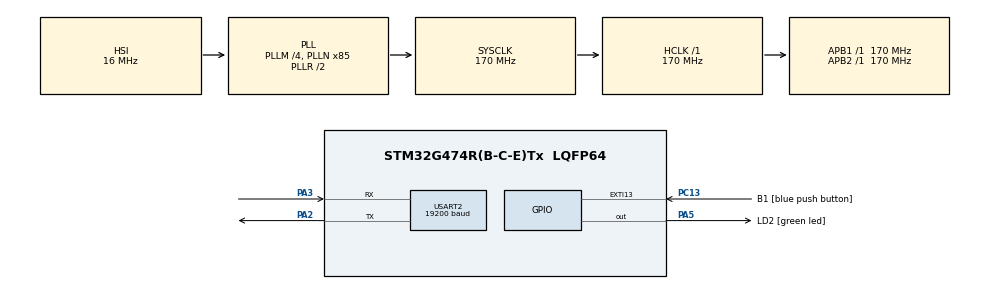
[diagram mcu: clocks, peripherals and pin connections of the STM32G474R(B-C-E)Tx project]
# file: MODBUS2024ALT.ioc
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Dma.Request0=USART2_TX
Dma.Request1=USART2_RX
Dma.USART2_RX.1.Direction=DMA_PERIPH_TO_MEMORY
Dma.USART2_RX.1.EventEnable=DISABLE
Dma.USART2_RX.1.Instance=DMA1_Channel2
Dma.USART2_RX.1.MemDataAlignment=DMA_MDATAALIGN_BYTE
Dma.USART2_RX.1.MemInc=DMA_MINC_ENABLE
Dma.USART2_RX.1.Mode=DMA_NORMAL
Dma.USART2_RX.1.PeriphDataAlignment=DMA_PDATAALIGN_BYTE
Dma.USART2_RX.1.PeriphInc=DMA_PINC_DISABLE
Dma.USART2_RX.1.Polarity=HAL_DMAMUX_REQ_GEN_RISING
Dma.USART2_RX.1.Priority=DMA_PRIORITY_LOW
Dma.USART2_RX.1.RequestNumber=1
Dma.USART2_RX.1.SignalID=NONE
Dma.USART2_RX.1.SyncEnable=DISABLE
Dma.USART2_RX.1.SyncPolarity=HAL_DMAMUX_SYNC_NO_EVENT
Dma.USART2_RX.1.SyncRequestNumber=1
Dma.USART2_RX.1.SyncSignalID=NONE
Dma.USART2_TX.0.Direction=DMA_MEMORY_TO_PERIPH
Dma.USART2_TX.0.EventEnable=DISABLE
Dma.USART2_TX.0.Instance=DMA1_Channel1
Dma.USART2_TX.0.MemDataAlignment=DMA_MDATAALIGN_BYTE
Dma.USART2_TX.0.MemInc=DMA_MINC_ENABLE
Dma.USART2_TX.0.Mode=DMA_NORMAL
Dma.USART2_TX.0.PeriphDataAlignment=DMA_PDATAALIGN_BYTE
Dma.USART2_TX.0.PeriphInc=DMA_PINC_DISABLE
Dma.USART2_TX.0.Polarity=HAL_DMAMUX_REQ_GEN_RISING
Dma.USART2_TX.0.Priority=DMA_PRIORITY_LOW
Dma.USART2_TX.0.RequestNumber=1
Dma.USART2_TX.0.SignalID=NONE
Dma.USART2_TX.0.SyncEnable=DISABLE
Dma.USART2_TX.0.SyncPolarity=HAL_DMAMUX_SYNC_NO_EVENT
Dma.USART2_TX.0.SyncRequestNumber=1
Dma.USART2_TX.0.SyncSignalID=NONE
Mcu.Family=STM32G4
Mcu.Name=STM32G474R(B-C-E)Tx
Mcu.Package=LQFP64
NVIC.DMA1_Channel1_IRQn=true\:0\:0\:false\:false\:true\:false\:true\:true
NVIC.DMA1_Channel2_IRQn=true\:0\:0\:false\:false\:true\:false\:true\:true
NVIC.EXTI15_10_IRQn=true\:0\:0\:false\:false\:true\:true\:true\:true
NVIC.PriorityGroup=NVIC_PRIORITYGROUP_4
NVIC.TIM1_UP_TIM16_IRQn=true\:0\:0\:false\:false\:true\:true\:true\:true
NVIC.TIM6_DAC_IRQn=true\:0\:0\:false\:false\:true\:true\:true\:true
NVIC.USART2_IRQn=true\:0\:0\:false\:false\:true\:true\:true\:true
PA13.GPIO_Label=T_SWDIO
PA13.Mode=Serial_Wire
PA13.Signal=SYS_JTMS-SWDIO
PA14.GPIO_Label=T_SWCLK
PA14.Mode=Serial_Wire
PA14.Signal=SYS_JTCK-SWCLK
PA2.Mode=Asynchronous
PA2.Signal=USART2_TX
PA3.Mode=Asynchronous
PA3.Signal=USART2_RX
PA5.GPIO_Label=LD2 [green led]
PA5.Signal=GPIO_Output
PB3.GPIO_Label=T_SWO
PB3.Signal=SYS_JTDO-SWO
PC13.GPIO_Label=B1 [blue push button]
PC13.Signal=GPXTI13
PC14-OSC32_IN.Mode=LSE-External-Oscillator
PC14-OSC32_IN.Signal=RCC_OSC32_IN
PC15-OSC32_OUT.Mode=LSE-External-Oscillator
PC15-OSC32_OUT.Signal=RCC_OSC32_OUT
PF0-OSC_IN.Mode=HSE-External-Oscillator
PF0-OSC_IN.Signal=RCC_OSC_IN
PF1-OSC_OUT.Mode=HSE-External-Oscillator
PF1-OSC_OUT.Signal=RCC_OSC_OUT
ProjectManager.HeapSize=0x200
ProjectManager.StackSize=0x400
ProjectManager.TargetToolchain=STM32CubeIDE
RCC.ADC12Freq_Value=170000000
RCC.ADC345Freq_Value=170000000
RCC.AHBFreq_Value=170000000
RCC.APB1Freq_Value=170000000
RCC.APB1TimFreq_Value=170000000
RCC.APB2Freq_Value=170000000
RCC.APB2TimFreq_Value=170000000
RCC.CortexFreq_Value=170000000
RCC.EXTERNAL_CLOCK_VALUE=12288000
RCC.HCLKFreq_Value=170000000
RCC.HSE_VALUE=24000000
RCC.HSI48_VALUE=48000000
RCC.HSI_VALUE=16000000
RCC.PLLM=RCC_PLLM_DIV4
RCC.PLLN=85
RCC.RTCClockSelection=RCC_RTCCLKSOURCE_LSE
RCC.SYSCLKFreq_VALUE=170000000
RCC.SYSCLKSource=RCC_SYSCLKSOURCE_PLLCLK
RCC.USBFreq_Value=170000000
RCC.VCOOutputFreq_Value=340000000
TIM6.AutoReloadPreload=TIM_AUTORELOAD_PRELOAD_DISABLE
TIM6.Dithering=Disable
TIM6.PeriodNoDither=20000
TIM6.Prescaler=1699
TIM6.TIM_MasterOutputTrigger=TIM_TRGO_RESET
USART2.BaudRate=19200
USART2.OneBitSampling=UART_ONE_BIT_SAMPLE_DISABLE
USART2.Parity=PARITY_EVEN
USART2.VirtualMode-Asynchronous=VM_ASYNC
USART2.WordLength=WORDLENGTH_9B
VP_SYS_VS_DBSignals.Mode=DisableDeadBatterySignals
VP_TIM16_VS_ClockSourceINT.Mode=Enable_Timer
VP_TIM16_VS_OPM.Mode=OPM_bit
VP_TIM17_VS_ClockSourceINT.Mode=Enable_Timer
VP_TIM6_VS_ClockSourceINT.Mode=Enable_Timer
board=NUCLEO-G474RE

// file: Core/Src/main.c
/* USER CODE BEGIN Header */
/**
  ******************************************************************************
  * @file           : main.c
  * @brief          : Main program body
  ******************************************************************************
  * @attention
  *
  * Copyright (c) 2024 STMicroelectronics.
  * All rights reserved.
  *
  * This software is licensed under terms that can be found in the LICENSE file
  * in the root directory of this software component.
  * If no LICENSE file comes with this software, it is provided AS-IS.
  *
  ******************************************************************************
  */
/* USER CODE END Header */
#include "main.h"

/* USER CODE BEGIN Includes */
#include "ModBusRTU.h"
/* USER CODE END Includes */

TIM_HandleTypeDef htim6;
TIM_HandleTypeDef htim16;
TIM_HandleTypeDef htim17;

UART_HandleTypeDef huart2;
DMA_HandleTypeDef hdma_usart2_tx;
DMA_HandleTypeDef hdma_usart2_rx;

/* USER CODE BEGIN PV */
ModbusHandleTypedef hmodbus;
u16u8_t registerFrame[200];

//maunualadd
int check  = 0;
int check2  = 0;
int vaccum_status = 0;
int gripper_status = 0;
int check_state  = 0;

// set shelf
int Enter_click = 0;
int set_shelf_state = 0;
//set point
int set_point_modbus = 0;
int point_state_triger = 0;
int set_point_state = 0;
// set home
int set_Home_state = 0;
int Home_state_triger = 0;
//run jog
int PickOrder = 0;
int PlasceOrder = 0;
int set_jog_state = 0;
/* USER CODE END PV */

void SystemClock_Config(void);
static void MX_GPIO_Init(void);
static void MX_DMA_Init(void);
static void MX_USART2_UART_Init(void);
static void MX_TIM16_Init(void);
static void MX_TIM6_Init(void);
static void MX_TIM17_Init(void);

int main(void)
{

  /* MCU Configuration--------------------------------------------------------*/

  /* Reset of all peripherals, Initializes the Flash interface and the Systick. */
  HAL_Init();

  /* Configure the system clock */
  SystemClock_Config();

  /* Initialize all configured peripherals */
  MX_GPIO_Init();
  MX_DMA_Init();
  MX_USART2_UART_Init();
  MX_TIM16_Init();
  MX_TIM6_Init();
  MX_TIM17_Init();
  /* USER CODE BEGIN 2 */

  // manaul add
  HAL_TIM_Base_Start_IT(&htim6);

  //  modbus
  hmodbus.huart = &huart2;
  hmodbus.htim = &htim16;
  hmodbus.slaveAddress = 0x15;
  hmodbus.RegisterSize =200;
  Modbus_init(&hmodbus, registerFrame);
  /* USER CODE END 2 */

  /* Infinite loop */
  while (1)
  {

    /* USER CODE BEGIN 3 */
	  Modbus_Protocal_Worker();
	  check_vaccum_status();
	  check_gripper_status();
	  set_shelf();
	  Pointmode();
	  Home();
	  Run_jog();
//

  }
  /* USER CODE END 3 */
}

void SystemClock_Config(void)
{
  RCC_OscInitTypeDef RCC_OscInitStruct = {0};
  RCC_ClkInitTypeDef RCC_ClkInitStruct = {0};

  /** Configure the main internal regulator output voltage
  */
  HAL_PWREx_ControlVoltageScaling(PWR_REGULATOR_VOLTAGE_SCALE1_BOOST);

  /** Initializes the RCC Oscillators according to the specified parameters
  * in the RCC_OscInitTypeDef structure.
  */
  RCC_OscInitStruct.OscillatorType = RCC_OSCILLATORTYPE_HSI;
  RCC_OscInitStruct.HSIState = RCC_HSI_ON;
  RCC_OscInitStruct.HSICalibrationValue = RCC_HSICALIBRATION_DEFAULT;
  RCC_OscInitStruct.PLL.PLLState = RCC_PLL_ON;
  RCC_OscInitStruct.PLL.PLLSource = RCC_PLLSOURCE_HSI;
  RCC_OscInitStruct.PLL.PLLM = RCC_PLLM_DIV4;
  RCC_OscInitStruct.PLL.PLLN = 85;
  RCC_OscInitStruct.PLL.PLLP = RCC_PLLP_DIV2;
  RCC_OscInitStruct.PLL.PLLQ = RCC_PLLQ_DIV2;
  RCC_OscInitStruct.PLL.PLLR = RCC_PLLR_DIV2;
  if (HAL_RCC_OscConfig(&RCC_OscInitStruct) != HAL_OK)
  {
    Error_Handler();
  }

  /** Initializes the CPU, AHB and APB buses clocks
  */
  RCC_ClkInitStruct.ClockType = RCC_CLOCKTYPE_HCLK|RCC_CLOCKTYPE_SYSCLK
                              |RCC_CLOCKTYPE_PCLK1|RCC_CLOCKTYPE_PCLK2;
  RCC_ClkInitStruct.SYSCLKSource = RCC_SYSCLKSOURCE_PLLCLK;
  RCC_ClkInitStruct.AHBCLKDivider = RCC_SYSCLK_DIV1;
  RCC_ClkInitStruct.APB1CLKDivider = RCC_HCLK_DIV1;
  RCC_ClkInitStruct.APB2CLKDivider = RCC_HCLK_DIV1;

  if (HAL_RCC_ClockConfig(&RCC_ClkInitStruct, FLASH_LATENCY_4) != HAL_OK)
  {
    Error_Handler();
  }
}

static void MX_TIM6_Init(void)
{

  TIM_MasterConfigTypeDef sMasterConfig = {0};

  htim6.Instance = TIM6;
  htim6.Init.Prescaler = 1699;
  htim6.Init.CounterMode = TIM_COUNTERMODE_UP;
  htim6.Init.Period = 20000;
  htim6.Init.AutoReloadPreload = TIM_AUTORELOAD_PRELOAD_DISABLE;
  if (HAL_TIM_Base_Init(&htim6) != HAL_OK)
  {
    Error_Handler();
  }
  sMasterConfig.MasterOutputTrigger = TIM_TRGO_RESET;
  sMasterConfig.MasterSlaveMode = TIM_MASTERSLAVEMODE_DISABLE;
  if (HAL_TIMEx_MasterConfigSynchronization(&htim6, &sMasterConfig) != HAL_OK)
  {
    Error_Handler();
  }

}

static void MX_TIM16_Init(void)
{

  htim16.Instance = TIM16;
  htim16.Init.Prescaler = 0;
  htim16.Init.CounterMode = TIM_COUNTERMODE_UP;
  htim16.Init.Period = 65535;
  htim16.Init.ClockDivision = TIM_CLOCKDIVISION_DIV1;
  htim16.Init.RepetitionCounter = 0;
  htim16.Init.AutoReloadPreload = TIM_AUTORELOAD_PRELOAD_DISABLE;
  if (HAL_TIM_Base_Init(&htim16) != HAL_OK)
  {
    Error_Handler();
  }
  if (HAL_TIM_OnePulse_Init(&htim16, TIM_OPMODE_SINGLE) != HAL_OK)
  {
    Error_Handler();
  }

}

static void MX_TIM17_Init(void)
{

  htim17.Instance = TIM17;
  htim17.Init.Prescaler = 0;
  htim17.Init.CounterMode = TIM_COUNTERMODE_UP;
  htim17.Init.Period = 65535;
  htim17.Init.ClockDivision = TIM_CLOCKDIVISION_DIV1;
  htim17.Init.RepetitionCounter = 0;
  htim17.Init.AutoReloadPreload = TIM_AUTORELOAD_PRELOAD_DISABLE;
  if (HAL_TIM_Base_Init(&htim17) != HAL_OK)
  {
    Error_Handler();
  }

}

static void MX_USART2_UART_Init(void)
{

  huart2.Instance = USART2;
  huart2.Init.BaudRate = 19200;
  huart2.Init.WordLength = UART_WORDLENGTH_9B;
  huart2.Init.StopBits = UART_STOPBITS_1;
  huart2.Init.Parity = UART_PARITY_EVEN;
  huart2.Init.Mode = UART_MODE_TX_RX;
  huart2.Init.HwFlowCtl = UART_HWCONTROL_NONE;
  huart2.Init.OverSampling = UART_OVERSAMPLING_16;
  huart2.Init.OneBitSampling = UART_ONE_BIT_SAMPLE_DISABLE;
  huart2.Init.ClockPrescaler = UART_PRESCALER_DIV1;
  huart2.AdvancedInit.AdvFeatureInit = UART_ADVFEATURE_NO_INIT;
  if (HAL_UART_Init(&huart2) != HAL_OK)
  {
    Error_Handler();
  }
  if (HAL_UARTEx_SetTxFifoThreshold(&huart2, UART_TXFIFO_THRESHOLD_1_8) != HAL_OK)
  {
    Error_Handler();
  }
  if (HAL_UARTEx_SetRxFifoThreshold(&huart2, UART_RXFIFO_THRESHOLD_1_8) != HAL_OK)
  {
    Error_Handler();
  }
  if (HAL_UARTEx_DisableFifoMode(&huart2) != HAL_OK)
  {
    Error_Handler();
  }

}

static void MX_DMA_Init(void)
{

  /* DMA controller clock enable */
  __HAL_RCC_DMAMUX1_CLK_ENABLE();
  __HAL_RCC_DMA1_CLK_ENABLE();

  /* DMA interrupt init */
  /* DMA1_Channel1_IRQn interrupt configuration */
  HAL_NVIC_SetPriority(DMA1_Channel1_IRQn, 0, 0);
  HAL_NVIC_EnableIRQ(DMA1_Channel1_IRQn);
  /* DMA1_Channel2_IRQn interrupt configuration */
  HAL_NVIC_SetPriority(DMA1_Channel2_IRQn, 0, 0);
  HAL_NVIC_EnableIRQ(DMA1_Channel2_IRQn);

}

static void MX_GPIO_Init(void)
{
  GPIO_InitTypeDef GPIO_InitStruct = {0};

  /* GPIO Ports Clock Enable */
  __HAL_RCC_GPIOC_CLK_ENABLE();
  __HAL_RCC_GPIOF_CLK_ENABLE();
  __HAL_RCC_GPIOA_CLK_ENABLE();
  __HAL_RCC_GPIOB_CLK_ENABLE();

  /*Configure GPIO pin Output Level */
  HAL_GPIO_WritePin(LD2_GPIO_Port, LD2_Pin, GPIO_PIN_RESET);

  /*Configure GPIO pin : B1_Pin */
  GPIO_InitStruct.Pin = B1_Pin;
  GPIO_InitStruct.Mode = GPIO_MODE_IT_RISING;
  GPIO_InitStruct.Pull = GPIO_NOPULL;
  HAL_GPIO_Init(B1_GPIO_Port, &GPIO_InitStruct);

  /*Configure GPIO pin : LD2_Pin */
  GPIO_InitStruct.Pin = LD2_Pin;
  GPIO_InitStruct.Mode = GPIO_MODE_OUTPUT_PP;
  GPIO_InitStruct.Pull = GPIO_NOPULL;
  GPIO_InitStruct.Speed = GPIO_SPEED_FREQ_LOW;
  HAL_GPIO_Init(LD2_GPIO_Port, &GPIO_InitStruct);

  /* EXTI interrupt init*/
  HAL_NVIC_SetPriority(EXTI15_10_IRQn, 0, 0);
  HAL_NVIC_EnableIRQ(EXTI15_10_IRQn);

}

/* USER CODE BEGIN 4 */
void HAL_TIM_PeriodElapsedCallback(TIM_HandleTypeDef *htim)
{
  // Check which version of the timer triggered this callback and toggle LED
  if (htim == &htim6)
  {
    check2 +=1;
	Heartbeat();
	Routine();
  }
}
void Heartbeat(){
	registerFrame[0x00].U16 = 22881;
	if (registerFrame[0x00].U16 == 18537)
	{
		registerFrame[0x00].U16 = 22881;
	}
}
void Routine(){
		if (gripper_status == 0 ) // not suck  in
		{
			registerFrame[0x04].U16 = 0b0000;
			registerFrame[0x04].U16 = 0b0001;
		}
		else if (gripper_status == 1) // suck in
		{
			registerFrame[0x04].U16 = 0b0000;
			registerFrame[0x04].U16 = 0b0010;
		}
		registerFrame[0x10].U16 = 0;
		registerFrame[0x11].U16 = 10;
		registerFrame[0x12].U16 = 100;
		registerFrame[0x13].U16 = 10;
		registerFrame[0x40].U16 = 10;
//		}
}

void check_vaccum_status()
{
	check_state = 1;
	if(registerFrame[0x02].U16 == 0b0000){ // not suck  in
		vaccum_status = 0;
//		registerFrame[0x04].U16 = 0b0000;
//		registerFrame[0x04].U16 = 0b0001;
	}
	if(registerFrame[0x02].U16 == 0b0001){ //suck  in
		vaccum_status = 1;
//		registerFrame[0x04].U16 = 0b0000;
//		registerFrame[0x04].U16 = 0b0010;
	}
}

void check_gripper_status()
{
	check_state = 2;
	if(registerFrame[0x03].U16 == 0b0000) //back ,not on
	{
		gripper_status = 0;

	}
	if(registerFrame[0x03].U16 == 0b0001) //back ,not on
	{
		gripper_status = 1;

	}
}

void set_shelf()
{
	check_state = 3;
	if(registerFrame[0x01].U16 ==  0b0001)
	{
		set_shelf_state = 1;
	}

	if (set_shelf_state == 1 && Enter_click ==0)
	{
			registerFrame[0x01].U16 = 0b0000;
			registerFrame[0x10].U16 = 0b0001; // set
	}

	if (set_shelf_state == 1 && Enter_click == 1)
	{
		registerFrame[0x01].U16 = 0b0000;
		registerFrame[0x23].U16 = 10;
		registerFrame[0x24].U16 = 20;
		registerFrame[0x25].U16 = 30;
		registerFrame[0x26].U16 = 40;
		registerFrame[0x27].U16 = 50;
		registerFrame[0x10].U16 = 0b0000;
		set_shelf_state = 0;
		Enter_click = 0;
	}

}

void Pointmode()
{
	if(registerFrame[0x01].U16 ==  0b1000) // Run Point Mode
		{
			 set_point_state = 1;
			 set_point_modbus = (registerFrame[0x30].U16) / 10;
			 registerFrame[0x01].U16 = 0b0000;
		}

	if (point_state_triger == 0 && set_point_state == 1)
		{
				registerFrame[0x10].U16 = 16;
		}
	if (point_state_triger == 1 && set_point_state == 1)
		{
		registerFrame[0x10].U16 = 0;
		set_point_state = 0;
		point_state_triger = 0;

		}
}
void Home()
{
	if(registerFrame[0x01].U16 ==  0b0010) // Run Home Mode
		{
			 set_Home_state = 1;
			 registerFrame[0x01].U16 = 0b0000;
		}
	if (Home_state_triger == 0 && set_Home_state == 1)
	{
					registerFrame[0x10].U16 = 0b0010;
	}
	if (Home_state_triger == 1 && set_Home_state == 1)
	{
			registerFrame[0x10].U16 = 0;
			set_Home_state = 0;
			Home_state_triger = 0;
	}
}
void Run_jog()
{
	if(registerFrame[0x01].U16 ==  0b0100) // Run Home Mode
			{
				set_jog_state = 1;
				PickOrder = registerFrame[0x21].U16;
				PlasceOrder = registerFrame[0x22].U16;
				registerFrame[0x01].U16 = 0b0000;
			}
	// run 5 loop of pick and place

	if (set_jog_state == 2)
	{
		registerFrame[0x10].U16 =  0b00000;
	}
}

/* USER CODE END 4 */

void Error_Handler(void)
{
  __disable_irq();
  while (1)
  {
  }
}
